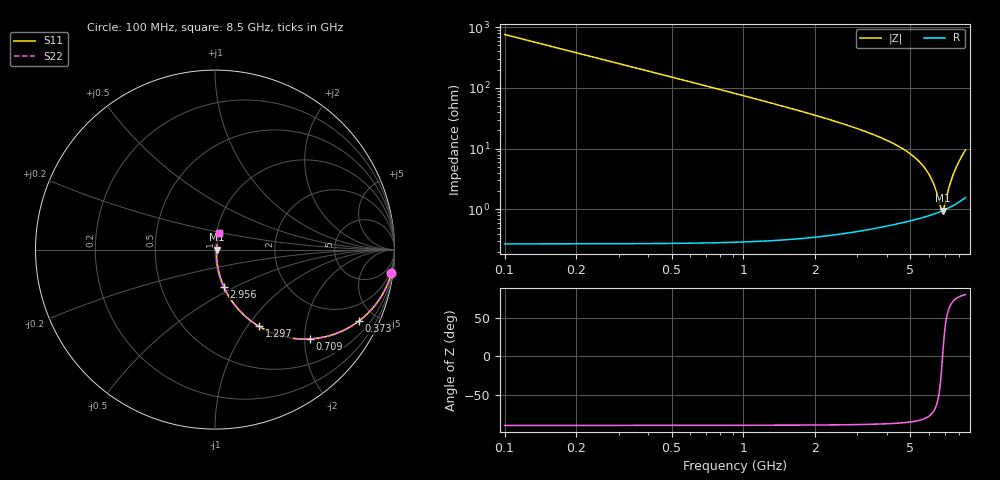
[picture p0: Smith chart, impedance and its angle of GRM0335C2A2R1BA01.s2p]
!Murata Part Number: GRM0335C2A2R1BA01
!These Parameters are Measured in Series Mode Connection
!Data Generated on Mar 30, 2021
!  o--ll--o
!Port1  Port2
!  o------o
!Operation Temp=25[degC], DC Bias Voltage=0[V]
!Freq. Start=100[MHz] Stop=9[GHz] 401[Steps]
# Hz S RI R 50
!Freq.(Hz) S11(Real) S11(Imag) S21(Real) S21(Imag) S12(Real) S12(Imag) S22(Real) S22(Imag)
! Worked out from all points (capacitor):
!   401 points, 100 MHz to 8.5 GHz, reference 50 ohm
!   read as one part in series: C = 2.1 pF near 142 MHz
!   lowest |Z| = 952 mohm at 6.82 GHz (marker M1)
!   series resonance near 6.821 GHz, so ESL is about 260 pH
!   S11 on the Smith chart (normalised r, x): 100 MHz: 1, -15; 373 MHz: 1.01, -4.05; 709 MHz: 1.01, -2.12; 1.297 GHz: 1.01, -1.14; 2.956 GHz: 1.01, -0.44; 8.5 GHz: 1.03, +0.19
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1e8  0.9828 -0.1297  0.0172 0.1297  0.0172 0.1297  0.9828 -0.1297
2.26e8  0.918 -0.2739  0.082 0.2739  0.082 0.2739  0.918 -0.2739
3.73e8  0.804 -0.3963  0.196 0.3963  0.196 0.3963  0.804 -0.3963
5.2e8  0.6776 -0.4664  0.3224 0.4664  0.3224 0.4664  0.6776 -0.4664
7.09e8  0.529 -0.4978  0.471 0.4978  0.471 0.4978  0.529 -0.4978
9.82e8  0.3662 -0.4799  0.6338 0.4799  0.6338 0.4799  0.3662 -0.4799
1.297e9  0.245 -0.4274  0.755 0.4274  0.755 0.4274  0.245 -0.4274
1.507e9  0.1912 -0.39  0.8088 0.39  0.8088 0.39  0.1912 -0.39
2.095e9  0.1034 -0.2993  0.8966 0.2993  0.8966 0.2993  0.1034 -0.2993
2.914e9  0.0508 -0.2102  0.9492 0.2102  0.9492 0.2102  0.0508 -0.2102
2.956e9  0.0491 -0.2065  0.9509 0.2065  0.9509 0.2065  0.0491 -0.2065
4.3e9  0.0192 -0.1152  0.9808 0.1152  0.9808 0.1152  0.0192 -0.1152
5.119e9  0.0122 -0.0745  0.9878 0.0745  0.9878 0.0745  0.0122 -0.0745
5.707e9  0.00975 -0.0483  0.9903 0.0483  0.9903 0.0483  0.00975 -0.0483
6.211e9  0.00892 -0.0266  0.9911 0.0266  0.9911 0.0266  0.00892 -0.0266
6.715e9  0.00921 -0.0047  0.9908 0.0047  0.9908 0.0047  0.00921 -0.0047
6.82e9  0.00943 -3.82e-05  0.9906 3.82e-05  0.9906 3.82e-05  0.00943 -3.82e-05
6.925e9  0.00969 0.00468  0.9903 -0.00468  0.9903 -0.00468  0.00969 0.00468
7.114e9  0.0103 0.0133  0.9897 -0.0133  0.9897 -0.0133  0.0103 0.0133
7.366e9  0.0115 0.0253  0.9885 -0.0253  0.9885 -0.0253  0.0115 0.0253
7.66e9  0.0134 0.0401  0.9866 -0.0401  0.9866 -0.0401  0.0134 0.0401
8.5e9  0.0238 0.0905  0.9762 -0.0905  0.9762 -0.0905  0.0238 0.0905
